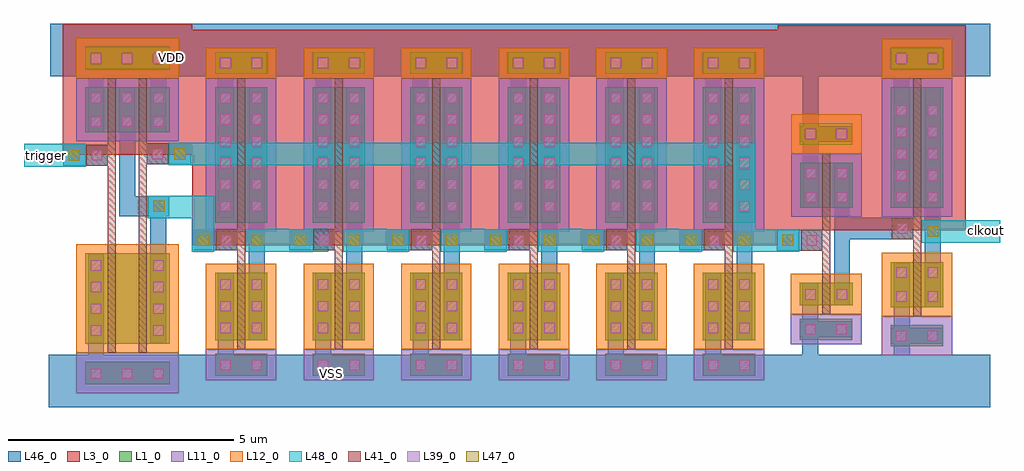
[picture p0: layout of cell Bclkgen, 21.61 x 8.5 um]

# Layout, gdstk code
import gdstk
lib = gdstk.Library(unit=1e-6, precision=1e-09)
def R(c, l, rs):  # rectangles x0, y0, x1, y1
    for r in rs: c.add(gdstk.rectangle(r[:2], r[2:], *l))
def A(c, l, x, y, w, h, nx, ny, dx, dy):  # array of equal rectangles
    R(c, l, [(x+i*dx, y+j*dy, x+i*dx+w, y+j*dy+h) for i in range(nx) for j in range(ny)])
L1_0 = (1, 0)
L3_0 = (3, 0)
L11_0 = (11, 0)
L12_0 = (12, 0)
L39_0 = (39, 0)
L41_0 = (41, 0)
L46_0 = (46, 0)
L47_0 = (47, 0)
L48_0 = (48, 0)

inv = lib.new_cell('INV')
R(inv, L1_0, [(3.77,-10.77,4.93,-10.29), (3.77,-9.99,4.93,-8.49), (3.77,-7.385,4.93,-4.385), (3.77,-4.085,4.93,-3.615)])
R(inv, L3_0, [(3.27,-7.885,5.43,-3.115)])
R(inv, L11_0, [(3.57,-10.87,5.13,-10.19), (3.57,-7.585,5.13,-4.185)])
R(inv, L12_0, [(3.57,-10.19,5.13,-8.29), (3.57,-4.185,5.13,-3.515)])
A(inv, L39_0, 3.89, -9.83, 0.23, 0.23, 1, 3, 0, 0.48)
A(inv, L39_0, 4.58, -9.83, 0.23, 0.23, 1, 3, 0, 0.48)
A(inv, L39_0, 3.89, -7.135, 0.23, 0.23, 1, 6, 0, 0.48)
A(inv, L39_0, 4.58, -7.135, 0.23, 0.23, 1, 6, 0, 0.48)
R(inv, L39_0, [(3.89,-10.65,4.12,-10.42), (4.58,-10.65,4.81,-10.42), (3.91,-7.88,4.14,-7.65), (3.89,-3.965,4.12,-3.735), (4.58,-3.965,4.81,-3.735)])
R(inv, L41_0, [(4.26,-10.19,4.44,-4.185), (3.79,-8,4.26,-7.53)])
R(inv, L46_0, [(3.27,-11.475,5.43,-10.305), (3.83,-10.72,4.18,-8.49), (4.52,-9.99,4.87,-4.385), (3.255,-8,4.26,-7.53), (3.83,-7.29,4.18,-4.145), (3.27,-4.145,5.43,-2.975)])
R(inv, L47_0, [(3.38,-7.9,3.63,-7.65), (4.57,-7.9,4.82,-7.65)])
R(inv, L48_0, [(3.255,-8.025,3.755,-7.525), (4.445,-8.025,4.945,-7.525)])
inv.add(gdstk.Label('VDD', (4.35,-3.515), layer=101, texttype=0))
inv.add(gdstk.Label('VSS', (4.35,-10.975), layer=101, texttype=0))
inv.add(gdstk.Label('A', (3.51,-7.73), layer=102, texttype=0))
inv.add(gdstk.Label('out', (4.79,-7.77), layer=102, texttype=0))

nand2 = lib.new_cell('NAND2')
R(nand2, L1_0, [(12.26,-24.335,14.13,-23.835), (12.26,-23.435,14.13,-21.435), (12.26,-18.755,14.13,-17.755), (12.26,-17.355,14.13,-16.855)])
R(nand2, L3_0, [(11.76,-19.255,14.63,-16.355)])
R(nand2, L11_0, [(12.06,-24.535,14.33,-23.635), (12.06,-18.955,14.33,-17.555)])
R(nand2, L12_0, [(12.06,-23.635,14.33,-21.235), (12.06,-17.555,14.33,-16.655)])
A(nand2, L39_0, 12.38, -24.215, 0.23, 0.23, 3, 2, 0.69, 5.58)
A(nand2, L39_0, 12.38, -23.255, 0.23, 0.23, 1, 4, 0, 0.48)
A(nand2, L39_0, 13.76, -23.255, 0.23, 0.23, 1, 4, 0, 0.48)
A(nand2, L39_0, 12.38, -18.105, 0.23, 0.23, 3, 2, 0.69, 0.87)
R(nand2, L39_0, [(12.4,-19.375,12.63,-19.145), (13.74,-19.345,13.97,-19.115)])
R(nand2, L41_0, [(12.75,-23.635,12.93,-17.555), (13.44,-23.635,13.62,-17.555), (12.28,-19.495,12.75,-19.025), (13.62,-19.465,14.09,-18.995)])
R(nand2, L46_0, [(12.06,-24.845,14.33,-23.675), (12.32,-23.675,12.67,-21.435), (13.7,-23.435,14.05,-20.615), (13.01,-20.615,14.115,-20.165), (13.01,-20.165,13.36,-17.755), (11.765,-19.495,12.75,-19.025), (13.62,-19.465,14.605,-18.995), (12.32,-18.755,12.67,-17.515), (13.7,-18.755,14.05,-17.515), (12.06,-17.515,14.33,-16.345)])
R(nand2, L47_0, [(13.765,-20.515,14.015,-20.265), (11.89,-19.385,12.14,-19.135), (14.23,-19.355,14.48,-19.105)])
R(nand2, L48_0, [(13.64,-20.655,14.14,-20.155), (11.765,-19.51,12.265,-19.01), (14.105,-19.48,14.605,-18.98)])
nand2.add(gdstk.Label('VDD', (13.1,-17.1), layer=101, texttype=0))
nand2.add(gdstk.Label('VSS', (13.195,-24.085), layer=101, texttype=0))
nand2.add(gdstk.Label('A', (12.035,-19.055), layer=102, texttype=0))
nand2.add(gdstk.Label('B', (14.355,-19.09), layer=102, texttype=0))
nand2.add(gdstk.Label('Vout', (14.06,-20.445), layer=102, texttype=0))

buf = lib.new_cell('BUF')
R(buf, L1_0, [(3.395,-3.205,4.555,-2.735), (1.385,-3.06,2.545,-2.59), (3.405,-2.335,4.565,-1.335), (1.385,-2.29,2.555,-1.79), (1.395,-0.135,2.555,0.865), (3.405,-0.135,4.565,2.535), (1.385,1.265,2.545,1.735), (3.405,2.935,4.565,3.405)])
R(buf, L3_0, [(0.895,-0.635,5.065,3.905)])
R(buf, L11_0, [(3.205,-3.405,4.765,-2.535), (1.185,-3.16,2.755,-2.49), (1.195,-0.335,2.755,1.065), (3.205,-0.335,4.765,2.735)])
R(buf, L12_0, [(3.205,-2.535,4.765,-1.135), (1.185,-2.49,2.755,-1.59), (1.195,1.065,2.755,1.935), (3.205,2.735,4.765,3.605)])
A(buf, L39_0, 3.525, -0.015, 0.23, 0.23, 1, 5, 0, 0.48)
A(buf, L39_0, 4.215, -0.015, 0.23, 0.23, 1, 5, 0, 0.48)
R(buf, L39_0, [(3.515,-3.085,3.745,-2.855), (4.205,-3.085,4.435,-2.855), (1.505,-2.94,1.735,-2.71), (2.195,-2.94,2.425,-2.71), (3.525,-2.215,3.755,-1.985), (4.215,-2.215,4.445,-1.985), (1.505,-2.17,1.735,-1.94), (2.205,-2.17,2.435,-1.94), (3.525,-1.685,3.755,-1.455), (4.215,-1.685,4.445,-1.455), (1.535,-0.97,1.765,-0.74), (3.545,-0.71,3.775,-0.48), (1.515,-0.015,1.745,0.215), (2.205,-0.015,2.435,0.215), (1.515,0.515,1.745,0.745), (2.205,0.515,2.435,0.745), (1.505,1.385,1.735,1.615), (2.195,1.385,2.425,1.615), (3.525,3.055,3.755,3.285), (4.215,3.055,4.445,3.285)])
R(buf, L41_0, [(3.895,-2.535,4.075,2.735), (1.885,-2.49,2.065,1.065), (1.415,-1.09,1.885,-0.62), (3.425,-0.83,3.895,-0.36)])
R(buf, L46_0, [(1.385,-4.555,4.555,-3.385), (1.445,-3.385,1.795,-1.79), (3.465,-3.385,3.815,-1.335), (3.395,-3.145,4.555,-2.795), (1.385,-3,2.545,-2.65), (4.155,-2.335,4.505,2.535), (2.145,-2.29,2.495,0.865), (0.87,-1.09,1.885,-0.62), (2.145,-0.83,3.895,-0.36), (1.455,-0.135,1.805,2.775), (3.465,-0.12,3.815,2.775), (1.385,1.325,2.545,1.675), (0.89,2.775,5.07,3.945)])
R(buf, L47_0, [(0.995,-0.98,1.245,-0.73), (4.205,-0.78,4.455,-0.53)])
R(buf, L48_0, [(0.87,-1.105,1.37,-0.605), (4.08,-0.905,4.58,-0.405)])
buf.add(gdstk.Label('VSS', (2.89,-4.025), layer=101, texttype=0))
buf.add(gdstk.Label('VDD', (2.465,3.3), layer=101, texttype=0))
buf.add(gdstk.Label('Out', (4.34,-0.78), layer=102, texttype=0))
buf.add(gdstk.Label('A', (1.12,-0.855), layer=102, texttype=0))

bclkgen = lib.new_cell('Bclkgen')
R(bclkgen, L46_0, [(51.141,-40.515,71.987,-39.345), (51.171,-33.185,71.987,-32.015)])
R(bclkgen, L48_0, [(55.994,-37.07,56.464,-36.56), (56.843,-37.07,57.323,-36.56), (58.154,-37.07,58.624,-36.56), (60.314,-37.07,60.794,-36.56), (62.474,-37.07,62.954,-36.56), (64.634,-37.07,65.104,-36.56), (66.294,-37.065,66.794,-35.15), (66.794,-37.065,67.254,-36.565), (70.964,-36.865,72.203,-36.365), (54.304,-36.565,54.804,-35.825), (53.829,-36.325,54.804,-35.825), (50.589,-35.18,51.454,-34.68), (53.794,-35.15,66.794,-34.65)])
bclkgen.add(gdstk.Reference(inv, (51.049,-29.04)))
bclkgen.add(gdstk.Reference(inv, (53.209,-29.04)))
bclkgen.add(gdstk.Reference(inv, (55.369,-29.04)))
bclkgen.add(gdstk.Reference(inv, (57.529,-29.04)))
bclkgen.add(gdstk.Reference(inv, (59.689,-29.04)))
bclkgen.add(gdstk.Reference(inv, (61.849,-29.04)))
bclkgen.add(gdstk.Reference(nand2, (39.689,-15.67)))
bclkgen.add(gdstk.Reference(buf, (66.384,-35.96)))
bclkgen.add(gdstk.Label('VDD', (53.854,-32.765), layer=101, texttype=0))
bclkgen.add(gdstk.Label('VSS', (57.399,-39.76), layer=101, texttype=0))
bclkgen.add(gdstk.Label('trigger', (51.084,-34.935), layer=102, texttype=0))
bclkgen.add(gdstk.Label('clkout', (71.894,-36.59), layer=102, texttype=0))

lib.write_gds('Bclkgen.gds')
